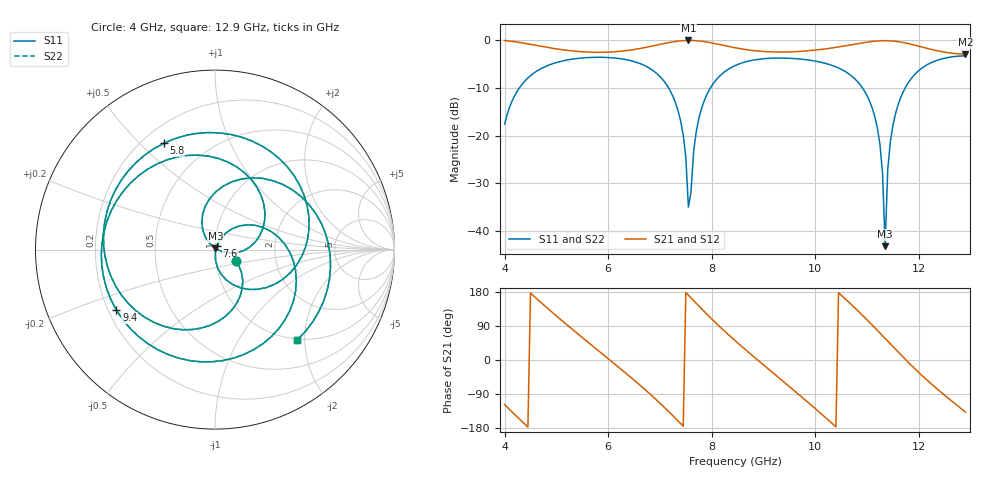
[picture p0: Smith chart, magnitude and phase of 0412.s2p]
!freq-unit  param-type  data-format  keyword  impedance-ohms
# GHZ  S  RI  R  50
!Freq  ReS11  ImS11  ReS21  ImS21  ReS12  ImS12  ReS22  ImS22
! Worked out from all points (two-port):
!   179 points, 4 GHz to 12.9 GHz, reference 50 ohm
!   highest |S21| = -0.13 dB at 7.55 GHz (marker M1); lowest = -3.0 dB at 12.9 GHz (marker M2)
!   |S21| within 3 dB of the highest: start of sweep to end of sweep
!   lowest |S11| = -43.1 dB at 11.35 GHz (marker M3), VSWR 1.01, Z = 50.2 + j0.659 ohm
!   |S11| at or under -10 dB: start of sweep to 4.288 GHz; 7.164 GHz to 7.979 GHz (815.2 MHz wide, 10.8 % of centre); 10.91 GHz to 11.74 GHz (831.8 MHz wide, 7.35 % of centre)
!   |S22| runs from -43.1 to -3.3 dB; largest |S21 - S12| = 0
!   S11 on the Smith chart (normalised r, x): 4 GHz: 1.25, -0.16; 5.8 GHz: 0.28, +0.59; 7.6 GHz: 1.02, +0.05; 9.4 GHz: 0.23, -0.27; 12.9 GHz: 0.99, -1.85
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4  0.1155 -0.0634  -0.4552 -0.8704  -0.4552 -0.8704  0.1155 -0.0634
4.55  -0.0753 -0.437  -0.874 0.1464  -0.874 0.1464  -0.0753 -0.437
5  -0.5197 -0.2556  -0.3566 0.7207  -0.3566 0.7207  -0.5197 -0.2556
5.5  -0.5554 0.331  0.3837 0.6452  0.3837 0.6452  -0.5554 0.331
5.8  -0.286 0.5922  0.6669 0.3221  0.6669 0.3221  -0.286 0.5922
6.35  0.3615 0.504  0.6257 -0.4508  0.6257 -0.4508  0.3615 0.504
7  0.3802 -0.1638  -0.3619 -0.8201  -0.3619 -0.8201  0.3802 -0.1638
7.4  0.0346 -0.1378  -0.9535 -0.2053  -0.9535 -0.2053  0.0346 -0.1378
7.55  0.00224 -0.0177  -0.9728 0.1552  -0.9728 0.1552  0.00224 -0.0177
7.6  0.0118 0.0227  -0.946 0.2742  -0.946 0.2742  0.0118 0.0227
7.85  0.18 0.1381  -0.5995 0.7483  -0.5995 0.7483  0.18 0.1381
8.5  0.3903 -0.3908  0.5756 0.5803  0.5756 0.5803  0.3903 -0.3908
9.4  -0.5497 -0.3365  0.3894 -0.6366  0.3894 -0.6366  -0.5497 -0.3365
9.95  -0.5128 0.3231  -0.4154 -0.656  -0.4154 -0.656  -0.5128 0.3231
10.55  0.1202 0.4614  -0.8307 0.2227  -0.8307 0.2227  0.1202 0.4614
11.05  0.2244 0.0422  -0.153 0.9417  -0.153 0.9417  0.2244 0.0422
11.25  0.0779 -0.0197  0.3159 0.9244  0.3159 0.9244  0.0779 -0.0197
11.35  0.00239 0.00656  0.5362 0.8201  0.5362 0.8201  0.00239 0.00656
11.45  -0.0526 0.0678  0.72 0.6589  0.72 0.6589  -0.0526 0.0678
11.75  0.00609 0.3236  0.9253 0.00166  0.9253 0.00166  0.00609 0.3236
12.15  0.432 0.3325  0.5039 -0.6428  0.5039 -0.6428  0.432 0.3325
12.9  0.4596 -0.5022  -0.5229 -0.4789  -0.5229 -0.4789  0.4596 -0.5022
